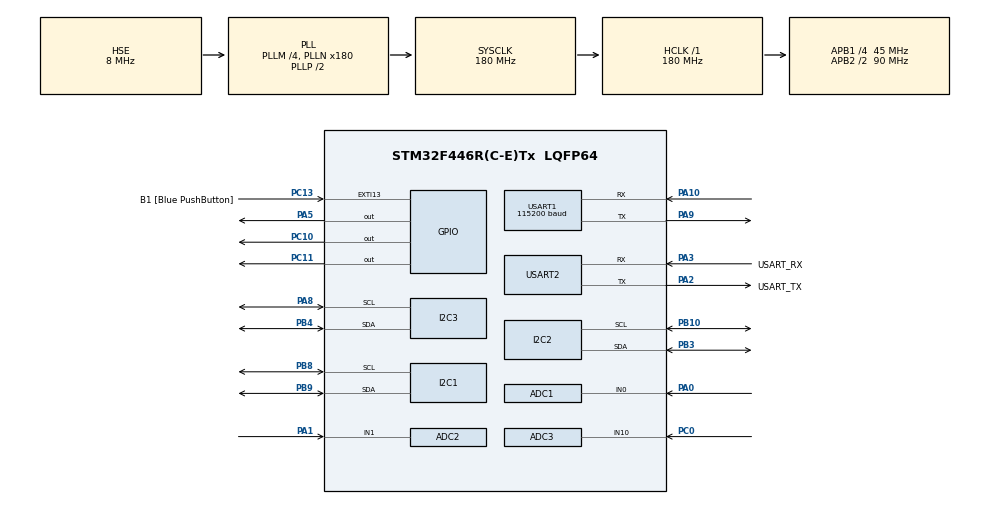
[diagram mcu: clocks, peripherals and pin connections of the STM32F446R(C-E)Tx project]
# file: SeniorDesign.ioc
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ADC1.Channel-0\#ChannelRegularConversion=ADC_CHANNEL_0
ADC1.ClockPrescaler=ADC_CLOCK_SYNC_PCLK_DIV4
ADC1.NbrOfConversionFlag=1
ADC1.Rank-0\#ChannelRegularConversion=1
ADC1.Resolution=ADC_RESOLUTION_8B
ADC1.SamplingTime-0\#ChannelRegularConversion=ADC_SAMPLETIME_3CYCLES
ADC1.master=1
ADC2.Channel-4\#ChannelRegularConversion=ADC_CHANNEL_1
ADC2.ClockPrescaler=ADC_CLOCK_SYNC_PCLK_DIV4
ADC2.NbrOfConversionFlag=1
ADC2.Rank-4\#ChannelRegularConversion=1
ADC2.Resolution=ADC_RESOLUTION_8B
ADC2.SamplingTime-4\#ChannelRegularConversion=ADC_SAMPLETIME_3CYCLES
ADC3.Channel-3\#ChannelRegularConversion=ADC_CHANNEL_10
ADC3.ClockPrescaler=ADC_CLOCK_SYNC_PCLK_DIV4
ADC3.NbrOfConversionFlag=1
ADC3.Rank-3\#ChannelRegularConversion=1
ADC3.Resolution=ADC_RESOLUTION_8B
ADC3.SamplingTime-3\#ChannelRegularConversion=ADC_SAMPLETIME_3CYCLES
Mcu.Family=STM32F4
Mcu.Name=STM32F446R(C-E)Tx
Mcu.Package=LQFP64
NVIC.EXTI15_10_IRQn=true\:0\:0\:false\:false\:true\:true\:true\:true
NVIC.PriorityGroup=NVIC_PRIORITYGROUP_0
NVIC.TIM8_TRG_COM_TIM14_IRQn=true\:0\:0\:false\:false\:true\:true\:true\:true
PA0-WKUP.Signal=ADCx_IN0
PA1.Signal=ADCx_IN1
PA10.Mode=Asynchronous
PA10.Signal=USART1_RX
PA13.GPIO_Label=TMS
PA13.Mode=Serial_Wire
PA13.Signal=SYS_JTMS-SWDIO
PA14.GPIO_Label=TCK
PA14.Mode=Serial_Wire
PA14.Signal=SYS_JTCK-SWCLK
PA2.GPIO_Label=USART_TX
PA2.Mode=Asynchronous
PA2.Signal=USART2_TX
PA3.GPIO_Label=USART_RX
PA3.Mode=Asynchronous
PA3.Signal=USART2_RX
PA5.Signal=GPIO_Output
PA8.Mode=I2C
PA8.Signal=I2C3_SCL
PA9.Mode=Asynchronous
PA9.Signal=USART1_TX
PB10.Mode=I2C
PB10.Signal=I2C2_SCL
PB3.Mode=I2C
PB3.Signal=I2C2_SDA
PB4.Mode=I2C
PB4.Signal=I2C3_SDA
PB8.Mode=I2C
PB8.Signal=I2C1_SCL
PB9.Mode=I2C
PB9.Signal=I2C1_SDA
PC0.Signal=ADCx_IN10
PC10.Signal=GPIO_Output
PC11.Signal=GPIO_Output
PC13.GPIO_Label=B1 [Blue PushButton]
PC13.GPIO_ModeDefaultEXTI=GPIO_MODE_IT_FALLING
PC13.Signal=GPXTI13
PC14-OSC32_IN.Mode=LSE-External-Oscillator
PC14-OSC32_IN.Signal=RCC_OSC32_IN
PC15-OSC32_OUT.Mode=LSE-External-Oscillator
PC15-OSC32_OUT.Signal=RCC_OSC32_OUT
PH0-OSC_IN.Mode=HSE-External-Oscillator
PH0-OSC_IN.Signal=RCC_OSC_IN
PH1-OSC_OUT.Mode=HSE-External-Oscillator
PH1-OSC_OUT.Signal=RCC_OSC_OUT
ProjectManager.HeapSize=0x200
ProjectManager.StackSize=0x400
ProjectManager.TargetToolchain=STM32CubeIDE
RCC.48MHZClocksFreq_Value=84000000
RCC.AHBFreq_Value=180000000
RCC.APB1CLKDivider=RCC_HCLK_DIV4
RCC.APB1Freq_Value=45000000
RCC.APB1TimFreq_Value=90000000
RCC.APB2CLKDivider=RCC_HCLK_DIV2
RCC.APB2Freq_Value=90000000
RCC.APB2TimFreq_Value=180000000
RCC.CortexFreq_Value=180000000
RCC.FLatency-AdvancedSettings=FLASH_LATENCY_5
RCC.HCLKFreq_Value=180000000
RCC.HSE_VALUE=8000000
RCC.HSI_VALUE=16000000
RCC.PLLM=4
RCC.PLLN=180
RCC.PLLQ=3
RCC.PLLSourceVirtual=RCC_PLLSOURCE_HSE
RCC.SYSCLKFreq_VALUE=180000000
RCC.SYSCLKSource=RCC_SYSCLKSOURCE_PLLCLK
RCC.USBFreq_Value=120000000
RCC.VCOOutputFreq_Value=360000000
SH.ADCx_IN0.0=ADC1_IN0,IN0
SH.ADCx_IN1.0=ADC2_IN1,IN1
SH.ADCx_IN10.0=ADC3_IN10,IN10
TIM14.Period=9999
TIM14.Prescaler=7999
USART1.BaudRate=115200
USART1.VirtualMode=VM_ASYNC
USART1.WordLength=WORDLENGTH_8B
USART2.VirtualMode=VM_ASYNC
VP_TIM14_VS_ClockSourceINT.Mode=Enable_Timer
board=NUCLEO-F446RE

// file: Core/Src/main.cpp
/* USER CODE BEGIN Header */
/**
  ******************************************************************************
  * @file           : main.cpp
  * @brief          : Main program body
  ******************************************************************************
  * @attention
  *
  * Copyright (c) 2023 STMicroelectronics.
  * All rights reserved.
  *
  * This software is licensed under terms that can be found in the LICENSE file
  * in the root directory of this software component.
  * If no LICENSE file comes with this software, it is provided AS-IS.
  *
  ******************************************************************************
  */
/* USER CODE END Header */
#include "main.h"

/* USER CODE BEGIN Includes */
#include<string>
#include"ssd1306.h"
#include<iostream>
#include<cstring>
#include<cmath>
/* USER CODE END Includes */

ADC_HandleTypeDef hadc1;
ADC_HandleTypeDef hadc2;
ADC_HandleTypeDef hadc3;

I2C_HandleTypeDef hi2c1;
I2C_HandleTypeDef hi2c2;
I2C_HandleTypeDef hi2c3;

TIM_HandleTypeDef htim14;

UART_HandleTypeDef huart1;
UART_HandleTypeDef huart2;

void SystemClock_Config(void);
static void MX_GPIO_Init(void);
static void MX_I2C1_Init(void);
static void MX_USART2_UART_Init(void);
static void MX_I2C2_Init(void);
static void MX_I2C3_Init(void);
static void MX_ADC1_Init(void);
static void MX_ADC2_Init(void);
static void MX_TIM14_Init(void);
static void MX_ADC3_Init(void);
static void MX_USART1_UART_Init(void);
/* USER CODE BEGIN PFP */

int datacheck = 0;

/* USER CODE END PFP */

/* USER CODE BEGIN 0 */
using namespace std;

double mph = 0;
double tempMph = 0;
string latGPerc;
int LatGChange = 0;
UART_HandleTypeDef* huart1ptr = &huart1;
void send_cmd(uint8_t* cmd)
{
    HAL_UART_Transmit(huart1ptr, cmd, sizeof(cmd), HAL_MAX_DELAY);
}

void read_response(char* resp, int max_len)
{
    uint8_t rec[256];
    HAL_UART_Receive(huart1ptr, rec, sizeof(rec), HAL_MAX_DELAY);
    int len = sizeof(rec);
    for (int i = 0; i < len; i++) {
       sprintf(&resp[i*2], "%02X", rec[i]); // Convert each byte to two ASCII characters
    }
    resp[len*2] = '\0'; // Add null terminator to end of string
}

/* USER CODE END 0 */

int main(void)
{
  /* USER CODE BEGIN 1 */
	uint16_t rawADC1, rawADC2, rawADC3, avgADC;
	char msg[10];

  /* USER CODE END 1 */

  /* MCU Configuration--------------------------------------------------------*/

  /* Reset of all peripherals, Initializes the Flash interface and the Systick. */
  HAL_Init();

  /* USER CODE BEGIN Init */
  	  char myText[] = "55mph";
  	  string speedDisp;

  /* USER CODE END Init */

  /* Configure the system clock */
  SystemClock_Config();

  /* Initialize all configured peripherals */
  MX_GPIO_Init();
  MX_I2C1_Init();
  MX_USART2_UART_Init();
  MX_I2C2_Init();
  MX_I2C3_Init();
  MX_ADC1_Init();
  MX_ADC2_Init();
  MX_TIM14_Init();
  MX_ADC3_Init();
  MX_USART1_UART_Init();
  /* USER CODE BEGIN 2 */

  ssd1306_Init(1);
  ssd1306_Init(2);
  ssd1306_Init(3);
  HAL_TIM_Base_Start_IT(&htim14);

  uint8_t kmh = 0;
  //ssd1306_Fill(Black);
  //ssd1306_UpdateScreen(1);
  //ssd1306_SetCursor(20,20);
  //retVal = ssd1306_WriteString(myText, Font_16x26, White);
  //ssd1306_UpdateScreen(1);

  /* USER CODE END 2 */

  /* Infinite loop */
  /* USER CODE BEGIN WHILE */
  int sel = 1;
  int temp;

  double throttle = 0;
  double tempThrottle = 0;
  string ThrottlePerc;
  string ThrottleText = "Throttle";

  double tempBraking = 0;
  double braking = 0;
  string brakingPerc;
  string brakingText = "Braking";

  string latGText = "Long. Gs";

  uint8_t cmd[256];
  char resp[256];
  uint32_t can_id;
  uint8_t can_data[8];
  uint8_t can_len;

  // Reset the ELM327
  //cmd = 'A', 'T', 'Z', '\r';

  cmd[0] = 'A';
  cmd[1] = 'T';
  cmd[2] = 'P';
  cmd[3] = 'P';
  cmd[4] = ' ';
  cmd[5] = '0';
  cmd[6] = 'C';
  cmd[7] = ' ';
  cmd[8] = 'S';
  cmd[9] = 'V';
  cmd[10] = ' ';
  cmd[11] = '0';
  cmd[12] = '8';
  send_cmd(cmd);
  read_response(resp, sizeof(resp));

  cmd[0] = 'A';
  cmd[1] = 'T';
  cmd[2] = 'P';
  cmd[3] = 'P';
  cmd[4] = ' ';
  cmd[5] = '0';
  cmd[6] = 'C';
  cmd[7] = ' ';
  cmd[8] = 'O';
  cmd[9] = 'N';
  send_cmd(cmd);
  read_response(resp, sizeof(resp));

  cmd[0] = 'A';
  cmd[1] = 'T';
  cmd[2] = 'Z';
  cmd[3] = '\r';
  send_cmd(cmd);
  read_response(resp, sizeof(resp));

  /*  POSSIBLE DELETE

  // Set the ELM327 to OBD-II mode
  cmd[0] = 'A';
  cmd[1] = 'T';
  cmd[2] = 'S';
  cmd[3] = 'P';
  cmd[4] = '0';
  send_cmd(cmd);
  read_response(resp, sizeof(resp));

  // Set the ELM327 to automatic protocol detection
  cmd[0] = 'A';
  cmd[1] = 'T';
  cmd[2] = 'S';
  cmd[3] = 'P';
  cmd[4] = '0';
  cmd[5] = '0';
  send_cmd(cmd);
  read_response(resp, sizeof(resp));

  // Set the ELM327 to automatic baud rate detection
  cmd[0] = 'A';
  cmd[1] = 'T';
  cmd[2] = 'B';
  cmd[3] = 'R';
  cmd[4] = '0';
  cmd[5] = '0';
  send_cmd(cmd);
  read_response(resp, sizeof(resp));*/

  while (1)
  {

	  /*for (int i = 0; i <= 100; i++){
		  speedDisp = to_string(i) + "mph";
		  strcpy(myText, speedDisp.c_str());
		  ssd1306_Fill(Black);
		  ssd1306_SetCursor(20,20);
		  retVal = ssd1306_WriteString(myText, Font_16x26, White);
		  ssd1306_UpdateScreen(sel);
		  sel ++;
		  if (sel == 4)
			  sel = 1;
	  }*/

	  //MONITOR FOR BRAKING
	  if (tempBraking - braking >= .5 || braking - tempBraking >= .5){
		  braking = tempBraking;
		  sel = 2;

		  temp = braking;
		  brakingPerc = to_string(temp);
		  temp = (braking * 10.0);
		  temp = temp % 10;
		  brakingPerc = brakingPerc + "." + to_string(temp) + " %";

		  ssd1306_Fill(Black);
		  ssd1306_SetCursor(25,5);
		  strcpy(myText, brakingText.c_str());
		  ssd1306_WriteString(myText, Font_11x18, White);
		  ssd1306_SetCursor(20,27);
		  strcpy(myText, brakingPerc.c_str());
		  ssd1306_WriteString(myText, Font_16x26, White);
		  ssd1306_UpdateScreen(sel);

	  }

	  //MONITOR FOR THROTTLE
	  if (tempThrottle - throttle >= .5 || throttle - tempThrottle >= .5){
		  throttle = tempThrottle;
	  	  sel = 3;

	  	  temp = throttle;
	  	  ThrottlePerc = to_string(temp);
	  	  temp = (throttle * 10.0);
	  	  temp = temp % 10;
	  	  ThrottlePerc = ThrottlePerc + "." + to_string(temp) + " %";

	  	  ssd1306_Fill(Black);
	  	  ssd1306_SetCursor(23,5);
	  	  strcpy(myText, ThrottleText.c_str());
	  	  ssd1306_WriteString(myText, Font_11x18, White);
	  	  ssd1306_SetCursor(20,27);
	  	  strcpy(myText, ThrottlePerc.c_str());
	  	  ssd1306_WriteString(myText, Font_16x26, White);
	  	  ssd1306_UpdateScreen(sel);
	  }

	  //LATERAL G FORCE MONITOR
	  //tempMPH = obd2.readVehicleSpeed();

	  if (LatGChange == 1){
	  			  // calculate lateral g force using the vehicle speed

	  	  ssd1306_Fill(Black);
	  	  ssd1306_SetCursor(20,5);
	  	  strcpy(myText, latGText.c_str());
	  	  ssd1306_WriteString(myText, Font_11x18, White);
	  	  ssd1306_SetCursor(5,25);
	  	  strcpy(myText, latGPerc.c_str());
	  	  ssd1306_WriteString(myText, Font_16x26, White);
	  	  ssd1306_UpdateScreen(1);
	  	  LatGChange = 0;
	  }

	  tempBraking = tempBraking + 0.5;

	  //tempThrottle = RxData[3];

	 // kmh = RxData[3];

	  //ADC 1
	  HAL_GPIO_WritePin(GPIOA, GPIO_PIN_0,GPIO_PIN_SET);
	  HAL_ADC_Start(&hadc1);
	  HAL_ADC_PollForConversion(&hadc1, HAL_MAX_DELAY);
	  rawADC1 = HAL_ADC_GetValue(&hadc1);
	  HAL_GPIO_WritePin(GPIOA, GPIO_PIN_0,GPIO_PIN_RESET);

	  HAL_UART_Transmit(&huart2, (uint8_t*)msg, strlen(msg), HAL_MAX_DELAY);

	  //ADC 2
	  HAL_GPIO_WritePin(GPIOA, GPIO_PIN_1, GPIO_PIN_SET);
	  HAL_ADC_Start(&hadc2);
	  HAL_ADC_PollForConversion(&hadc2, HAL_MAX_DELAY);
	  rawADC2 = HAL_ADC_GetValue(&hadc2);
	  HAL_GPIO_WritePin(GPIOA, GPIO_PIN_1, GPIO_PIN_RESET);

	  HAL_UART_Transmit(&huart2, (uint8_t*)msg, strlen(msg), HAL_MAX_DELAY);

	  //ADC 3
	  HAL_GPIO_WritePin(GPIOC, GPIO_PIN_0, GPIO_PIN_SET);
	  HAL_ADC_Start(&hadc3);
	  HAL_ADC_PollForConversion(&hadc3, HAL_MAX_DELAY);
	  rawADC3 = HAL_ADC_GetValue(&hadc3);
	  HAL_GPIO_WritePin(GPIOC, GPIO_PIN_0, GPIO_PIN_RESET);

	  HAL_UART_Transmit(&huart2, (uint8_t*)msg, strlen(msg), HAL_MAX_DELAY);

	  //COMPARE
	  avgADC = (rawADC1 + rawADC2 + rawADC3)/3;
	  rawADC1 = abs(rawADC1 - avgADC);
	  rawADC2 = abs(rawADC2 - avgADC);
	  rawADC3 = abs(rawADC3 - avgADC);

	  if (rawADC1 > rawADC2 && rawADC1 > rawADC3){ //1 is max disable it
		  cout << "Disabling 1";
	  }
	  else if (rawADC2 > rawADC1 && rawADC2 > rawADC3){ //2 is max disable it
		  cout << "Disabling 2";
	  }
	  else if (rawADC3 > rawADC1 && rawADC3 > rawADC2){ //3 is max disable it
		  cout << "Disabling 3";
	  }

	  //ReadData
	  cmd[0] = 'A';
	  cmd[1] = 'T';
	  cmd[2] = 'C';
	  cmd[3] = 'R';
	  cmd[4] = 'A';
	  cmd[5] = '7';
	  cmd[6] = 'E';
	  cmd[7] = '0';
	  send_cmd(cmd);
	  read_response(resp, sizeof(resp));
	  sscanf(resp, "%lx %x %x %x %x %x %x %x %x", &can_id, &can_data[0], &can_data[1], &can_data[2], &can_data[3], &can_data[4], &can_data[5], &can_data[6], &can_data[7]);
	  can_len = (resp[12] - '0')*2;

	  tempThrottle = can_data[3] * 100 / 255;
	  kmh = ((can_data[4] << 8) | can_data[5]) / 100;

	  /*HAL_UART_Transmit(&huart1, (uint8_t*)SpeedReq, sizeof(SpeedReq), HAL_MAX_DELAY);
	  rx_count = 8 - huart1.RxXferCount;
	  memcpy(rxdata, huart1.pRxBuffPtr, rx_count);

	  if (rxdata[1] == 0x0D){
		  kmh = rxdata[2] * 256 + rxdata[3]/100;
	  }

	  memset(rxdata, 0 , sizeof(rxdata));

	  HAL_UART_Transmit(&huart1, (uint8_t*)ThrotReq, sizeof(ThrotReq), HAL_MAX_DELAY);
	  rx_count = 8  - huart1.RxXferCount;
	  memcpy(rxdata, huart1.pRxBuffPtr, rx_count);

	  	  if (rxdata[1] == 0x11){
	  		  tempThrottle = rxdata[2] * 256 + rxdata[3]/100;
	  	  }

	  	  memset(rxdata, 0 , sizeof(rxdata));*/

	  //To read Speed and Throttle % from OBD2 Interface

    /* USER CODE END WHILE */

  }
}

void SystemClock_Config(void)
{
  RCC_OscInitTypeDef RCC_OscInitStruct = {0};
  RCC_ClkInitTypeDef RCC_ClkInitStruct = {0};

  /** Configure the main internal regulator output voltage
  */
  __HAL_RCC_PWR_CLK_ENABLE();
  __HAL_PWR_VOLTAGESCALING_CONFIG(PWR_REGULATOR_VOLTAGE_SCALE1);

  /** Initializes the RCC Oscillators according to the specified parameters
  * in the RCC_OscInitTypeDef structure.
  */
  RCC_OscInitStruct.OscillatorType = RCC_OSCILLATORTYPE_HSE;
  RCC_OscInitStruct.HSEState = RCC_HSE_ON;
  RCC_OscInitStruct.PLL.PLLState = RCC_PLL_ON;
  RCC_OscInitStruct.PLL.PLLSource = RCC_PLLSOURCE_HSE;
  RCC_OscInitStruct.PLL.PLLM = 4;
  RCC_OscInitStruct.PLL.PLLN = 180;
  RCC_OscInitStruct.PLL.PLLP = RCC_PLLP_DIV2;
  RCC_OscInitStruct.PLL.PLLQ = 3;
  RCC_OscInitStruct.PLL.PLLR = 2;
  if (HAL_RCC_OscConfig(&RCC_OscInitStruct) != HAL_OK)
  {
    Error_Handler();
  }

  /** Activate the Over-Drive mode
  */
  if (HAL_PWREx_EnableOverDrive() != HAL_OK)
  {
    Error_Handler();
  }

  /** Initializes the CPU, AHB and APB buses clocks
  */
  RCC_ClkInitStruct.ClockType = RCC_CLOCKTYPE_HCLK|RCC_CLOCKTYPE_SYSCLK
                              |RCC_CLOCKTYPE_PCLK1|RCC_CLOCKTYPE_PCLK2;
  RCC_ClkInitStruct.SYSCLKSource = RCC_SYSCLKSOURCE_PLLCLK;
  RCC_ClkInitStruct.AHBCLKDivider = RCC_SYSCLK_DIV1;
  RCC_ClkInitStruct.APB1CLKDivider = RCC_HCLK_DIV4;
  RCC_ClkInitStruct.APB2CLKDivider = RCC_HCLK_DIV2;

  if (HAL_RCC_ClockConfig(&RCC_ClkInitStruct, FLASH_LATENCY_5) != HAL_OK)
  {
    Error_Handler();
  }
}

static void MX_ADC1_Init(void)
{

  ADC_ChannelConfTypeDef sConfig = {0};

  /** Configure the global features of the ADC (Clock, Resolution, Data Alignment and number of conversion)
  */
  hadc1.Instance = ADC1;
  hadc1.Init.ClockPrescaler = ADC_CLOCK_SYNC_PCLK_DIV4;
  hadc1.Init.Resolution = ADC_RESOLUTION_8B;
  hadc1.Init.ScanConvMode = DISABLE;
  hadc1.Init.ContinuousConvMode = DISABLE;
  hadc1.Init.DiscontinuousConvMode = DISABLE;
  hadc1.Init.ExternalTrigConvEdge = ADC_EXTERNALTRIGCONVEDGE_NONE;
  hadc1.Init.ExternalTrigConv = ADC_SOFTWARE_START;
  hadc1.Init.DataAlign = ADC_DATAALIGN_RIGHT;
  hadc1.Init.NbrOfConversion = 1;
  hadc1.Init.DMAContinuousRequests = DISABLE;
  hadc1.Init.EOCSelection = ADC_EOC_SINGLE_CONV;
  if (HAL_ADC_Init(&hadc1) != HAL_OK)
  {
    Error_Handler();
  }

  /** Configure for the selected ADC regular channel its corresponding rank in the sequencer and its sample time.
  */
  sConfig.Channel = ADC_CHANNEL_0;
  sConfig.Rank = 1;
  sConfig.SamplingTime = ADC_SAMPLETIME_3CYCLES;
  if (HAL_ADC_ConfigChannel(&hadc1, &sConfig) != HAL_OK)
  {
    Error_Handler();
  }

}

static void MX_ADC2_Init(void)
{

  ADC_ChannelConfTypeDef sConfig = {0};

  /** Configure the global features of the ADC (Clock, Resolution, Data Alignment and number of conversion)
  */
  hadc2.Instance = ADC2;
  hadc2.Init.ClockPrescaler = ADC_CLOCK_SYNC_PCLK_DIV4;
  hadc2.Init.Resolution = ADC_RESOLUTION_8B;
  hadc2.Init.ScanConvMode = DISABLE;
  hadc2.Init.ContinuousConvMode = DISABLE;
  hadc2.Init.DiscontinuousConvMode = DISABLE;
  hadc2.Init.ExternalTrigConvEdge = ADC_EXTERNALTRIGCONVEDGE_NONE;
  hadc2.Init.ExternalTrigConv = ADC_SOFTWARE_START;
  hadc2.Init.DataAlign = ADC_DATAALIGN_RIGHT;
  hadc2.Init.NbrOfConversion = 1;
  hadc2.Init.DMAContinuousRequests = DISABLE;
  hadc2.Init.EOCSelection = ADC_EOC_SINGLE_CONV;
  if (HAL_ADC_Init(&hadc2) != HAL_OK)
  {
    Error_Handler();
  }

  /** Configure for the selected ADC regular channel its corresponding rank in the sequencer and its sample time.
  */
  sConfig.Channel = ADC_CHANNEL_1;
  sConfig.Rank = 1;
  sConfig.SamplingTime = ADC_SAMPLETIME_3CYCLES;
  if (HAL_ADC_ConfigChannel(&hadc2, &sConfig) != HAL_OK)
  {
    Error_Handler();
  }

}

static void MX_ADC3_Init(void)
{

  ADC_ChannelConfTypeDef sConfig = {0};

  /** Configure the global features of the ADC (Clock, Resolution, Data Alignment and number of conversion)
  */
  hadc3.Instance = ADC3;
  hadc3.Init.ClockPrescaler = ADC_CLOCK_SYNC_PCLK_DIV4;
  hadc3.Init.Resolution = ADC_RESOLUTION_8B;
  hadc3.Init.ScanConvMode = DISABLE;
  hadc3.Init.ContinuousConvMode = DISABLE;
  hadc3.Init.DiscontinuousConvMode = DISABLE;
  hadc3.Init.ExternalTrigConvEdge = ADC_EXTERNALTRIGCONVEDGE_NONE;
  hadc3.Init.ExternalTrigConv = ADC_SOFTWARE_START;
  hadc3.Init.DataAlign = ADC_DATAALIGN_RIGHT;
  hadc3.Init.NbrOfConversion = 1;
  hadc3.Init.DMAContinuousRequests = DISABLE;
  hadc3.Init.EOCSelection = ADC_EOC_SINGLE_CONV;
  if (HAL_ADC_Init(&hadc3) != HAL_OK)
  {
    Error_Handler();
  }

  /** Configure for the selected ADC regular channel its corresponding rank in the sequencer and its sample time.
  */
  sConfig.Channel = ADC_CHANNEL_10;
  sConfig.Rank = 1;
  sConfig.SamplingTime = ADC_SAMPLETIME_3CYCLES;
  if (HAL_ADC_ConfigChannel(&hadc3, &sConfig) != HAL_OK)
  {
    Error_Handler();
  }

}

static void MX_I2C1_Init(void)
{

  hi2c1.Instance = I2C1;
  hi2c1.Init.ClockSpeed = 100000;
  hi2c1.Init.DutyCycle = I2C_DUTYCYCLE_2;
  hi2c1.Init.OwnAddress1 = 0;
  hi2c1.Init.AddressingMode = I2C_ADDRESSINGMODE_7BIT;
  hi2c1.Init.DualAddressMode = I2C_DUALADDRESS_DISABLE;
  hi2c1.Init.OwnAddress2 = 0;
  hi2c1.Init.GeneralCallMode = I2C_GENERALCALL_DISABLE;
  hi2c1.Init.NoStretchMode = I2C_NOSTRETCH_DISABLE;
  if (HAL_I2C_Init(&hi2c1) != HAL_OK)
  {
    Error_Handler();
  }

}

static void MX_I2C2_Init(void)
{

  hi2c2.Instance = I2C2;
  hi2c2.Init.ClockSpeed = 100000;
  hi2c2.Init.DutyCycle = I2C_DUTYCYCLE_2;
  hi2c2.Init.OwnAddress1 = 0;
  hi2c2.Init.AddressingMode = I2C_ADDRESSINGMODE_7BIT;
  hi2c2.Init.DualAddressMode = I2C_DUALADDRESS_DISABLE;
  hi2c2.Init.OwnAddress2 = 0;
  hi2c2.Init.GeneralCallMode = I2C_GENERALCALL_DISABLE;
  hi2c2.Init.NoStretchMode = I2C_NOSTRETCH_DISABLE;
  if (HAL_I2C_Init(&hi2c2) != HAL_OK)
  {
    Error_Handler();
  }

}

static void MX_I2C3_Init(void)
{

  hi2c3.Instance = I2C3;
  hi2c3.Init.ClockSpeed = 100000;
  hi2c3.Init.DutyCycle = I2C_DUTYCYCLE_2;
  hi2c3.Init.OwnAddress1 = 0;
  hi2c3.Init.AddressingMode = I2C_ADDRESSINGMODE_7BIT;
  hi2c3.Init.DualAddressMode = I2C_DUALADDRESS_DISABLE;
  hi2c3.Init.OwnAddress2 = 0;
  hi2c3.Init.GeneralCallMode = I2C_GENERALCALL_DISABLE;
  hi2c3.Init.NoStretchMode = I2C_NOSTRETCH_DISABLE;
  if (HAL_I2C_Init(&hi2c3) != HAL_OK)
  {
    Error_Handler();
  }

}

static void MX_TIM14_Init(void)
{

  htim14.Instance = TIM14;
  htim14.Init.Prescaler = 7999;
  htim14.Init.CounterMode = TIM_COUNTERMODE_UP;
  htim14.Init.Period = 9999;
  htim14.Init.ClockDivision = TIM_CLOCKDIVISION_DIV1;
  htim14.Init.AutoReloadPreload = TIM_AUTORELOAD_PRELOAD_DISABLE;
  if (HAL_TIM_Base_Init(&htim14) != HAL_OK)
  {
    Error_Handler();
  }

}

static void MX_USART1_UART_Init(void)
{

  huart1.Instance = USART1;
  huart1.Init.BaudRate = 115200;
  huart1.Init.WordLength = UART_WORDLENGTH_8B;
  huart1.Init.StopBits = UART_STOPBITS_1;
  huart1.Init.Parity = UART_PARITY_NONE;
  huart1.Init.Mode = UART_MODE_TX_RX;
  huart1.Init.HwFlowCtl = UART_HWCONTROL_NONE;
  huart1.Init.OverSampling = UART_OVERSAMPLING_16;
  if (HAL_UART_Init(&huart1) != HAL_OK)
  {
    Error_Handler();
  }

}

static void MX_USART2_UART_Init(void)
{

  huart2.Instance = USART2;
  huart2.Init.BaudRate = 115200;
  huart2.Init.WordLength = UART_WORDLENGTH_8B;
  huart2.Init.StopBits = UART_STOPBITS_1;
  huart2.Init.Parity = UART_PARITY_NONE;
  huart2.Init.Mode = UART_MODE_TX_RX;
  huart2.Init.HwFlowCtl = UART_HWCONTROL_NONE;
  huart2.Init.OverSampling = UART_OVERSAMPLING_16;
  if (HAL_UART_Init(&huart2) != HAL_OK)
  {
    Error_Handler();
  }

}

static void MX_GPIO_Init(void)
{
  GPIO_InitTypeDef GPIO_InitStruct = {0};

  /* GPIO Ports Clock Enable */
  __HAL_RCC_GPIOC_CLK_ENABLE();
  __HAL_RCC_GPIOH_CLK_ENABLE();
  __HAL_RCC_GPIOA_CLK_ENABLE();
  __HAL_RCC_GPIOB_CLK_ENABLE();

  /*Configure GPIO pin Output Level */
  HAL_GPIO_WritePin(GPIOA, GPIO_PIN_5, GPIO_PIN_RESET);

  /*Configure GPIO pin Output Level */
  HAL_GPIO_WritePin(GPIOC, GPIO_PIN_10|GPIO_PIN_11, GPIO_PIN_RESET);

  /*Configure GPIO pin : B1_Pin */
  GPIO_InitStruct.Pin = B1_Pin;
  GPIO_InitStruct.Mode = GPIO_MODE_IT_FALLING;
  GPIO_InitStruct.Pull = GPIO_NOPULL;
  HAL_GPIO_Init(B1_GPIO_Port, &GPIO_InitStruct);

  /*Configure GPIO pin : PA5 */
  GPIO_InitStruct.Pin = GPIO_PIN_5;
  GPIO_InitStruct.Mode = GPIO_MODE_OUTPUT_PP;
  GPIO_InitStruct.Pull = GPIO_NOPULL;
  GPIO_InitStruct.Speed = GPIO_SPEED_FREQ_LOW;
  HAL_GPIO_Init(GPIOA, &GPIO_InitStruct);

  /*Configure GPIO pins : PC10 PC11 */
  GPIO_InitStruct.Pin = GPIO_PIN_10|GPIO_PIN_11;
  GPIO_InitStruct.Mode = GPIO_MODE_OUTPUT_PP;
  GPIO_InitStruct.Pull = GPIO_NOPULL;
  GPIO_InitStruct.Speed = GPIO_SPEED_FREQ_LOW;
  HAL_GPIO_Init(GPIOC, &GPIO_InitStruct);

  /* EXTI interrupt init*/
  HAL_NVIC_SetPriority(EXTI15_10_IRQn, 0, 0);
  HAL_NVIC_EnableIRQ(EXTI15_10_IRQn);

}

/* USER CODE BEGIN 4 */

	void HAL_TIM_PeriodElapsedCallback(TIM_HandleTypeDef *htim){
		if (htim == (&htim14)){
			  const double g = 9.81; // acceleration due to gravity in m/s^2
			  double Lat_g = 0;
			  double metersPerSec;
			  double tempMetersPerSec;
			  int temp = 0;
			  HAL_GPIO_TogglePin(GPIOA, GPIO_PIN_5); //HERE, MPH REPRESENTS CURRENT MPH, TEMPMPH REPRESENTS THE MPH 1 SECOND AGO.
			  if (tempMph - mph >= .25 || mph - tempMph >= .25){
			  // calculate lateral g force using the vehicle speed
				  metersPerSec = mph * .44704;
				  tempMetersPerSec = tempMph * .44704;
			  	  Lat_g = (metersPerSec - tempMetersPerSec)/g;

			  	  temp = Lat_g;
			  	  latGPerc = to_string(temp);
			  	  temp = Lat_g * 100;
			  	  temp = temp % 100;
			  	  if (temp < 10){
			  		latGPerc = latGPerc + ".0" + to_string(temp);
			  	  }
			  	  else {
			  		  latGPerc = latGPerc + "." + to_string(temp);
			  	  }

			  	  tempMph = mph;
			  	  LatGChange = 1;
			  }
		}
	}

/* USER CODE END 4 */

void Error_Handler(void)
{
  __disable_irq();
  while (1)
  {
  }
}
